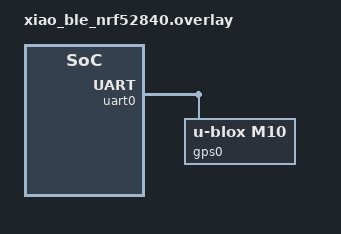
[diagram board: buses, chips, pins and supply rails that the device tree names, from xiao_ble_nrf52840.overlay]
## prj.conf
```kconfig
#
# Copyright (c) 2016 Intel Corporation
#
# SPDX-License-Identifier: Apache-2.0
#

CONFIG_GPIO=y

CONFIG_SERIAL=y
CONFIG_UART_INTERRUPT_DRIVEN=y
CONFIG_UART_ASYNC_API=y
CONFIG_UART_WIDE_DATA=y

CONFIG_GNSS=y
CONFIG_GNSS_SATELLITES=y
CONFIG_LOG=y
CONFIG_GNSS_DUMP=y
CONFIG_GNSS_DUMP_TO_LOG=y
CONFIG_GNSS_PARSE=y
CONFIG_GNSS_NMEA0183=y
CONFIG_GNSS_NMEA0183_MATCH=y
CONFIG_GNSS_U_BLOX_PROTOCOL=y

CONFIG_GNSS_LOG_LEVEL_ERR=y
# CONFIG_GNSS_LOG_LEVEL_DBG=y
# CONFIG_MODEM=y
# CONFIG_MODEM_LOG_LEVEL_ERR=y
# CONFIG_MODEM_LOG_LEVEL_DBG=y

CONFIG_GNSS_U_BLOX_M10=y

CONFIG_CBPRINTF_FP_SUPPORT=y
CONFIG_CBPRINTF_COMPLETE=y
```

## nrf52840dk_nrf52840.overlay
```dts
// To get started, press Ctrl+Space to bring up the completion menu and view the available nodes.

// You can also use the buttons in the sidebar to perform actions on nodes.
// Actions currently available include:

// * Enabling / disabling the node
// * Adding the bus to a bus
// * Removing the node
// * Connecting ADC channels

// For more help, browse the DeviceTree documentation at https://docs.zephyrproject.org/latest/guides/dts/index.html
// You can also visit the nRF DeviceTree extension documentation at https://docs.nordicsemi.com/bundle/nrf-connect-vscode/page/guides/ncs_configure_app.html#devicetree-support-in-the-extension

&uart0 {
    current-speed = <9600>;
};
```

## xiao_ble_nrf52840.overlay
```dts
// To get started, press Ctrl+Space to bring up the completion menu and view the available nodes.

// You can also use the buttons in the sidebar to perform actions on nodes.
// Actions currently available include:

// * Enabling / disabling the node
// * Adding the bus to a bus
// * Removing the node
// * Connecting ADC channels

// For more help, browse the DeviceTree documentation at https://docs.zephyrproject.org/latest/guides/dts/index.html
// You can also visit the nRF DeviceTree extension documentation at https://docs.nordicsemi.com/bundle/nrf-connect-vscode/page/guides/ncs_configure_app.html#devicetree-support-in-the-extension
&uart0 {
    status = "okay";
    gps0: gps {
        compatible = "u-blox,m10";
        uart-baudrate = <115200>;
        status = "okay";
    };
};
```

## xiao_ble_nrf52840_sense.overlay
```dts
// To get started, press Ctrl+Space to bring up the completion menu and view the available nodes.

// You can also use the buttons in the sidebar to perform actions on nodes.
// Actions currently available include:

// * Enabling / disabling the node
// * Adding the bus to a bus
// * Removing the node
// * Connecting ADC channels

// For more help, browse the DeviceTree documentation at https://docs.zephyrproject.org/latest/guides/dts/index.html
// You can also visit the nRF DeviceTree extension documentation at https://docs.nordicsemi.com/bundle/nrf-connect-vscode/page/guides/ncs_configure_app.html#devicetree-support-in-the-extension

&uart0 {
    status = "okay";
    gps0: gps {
        compatible = "u-blox,m10";
        uart-baudrate = <115200>;
        status = "okay";
    };
};
```

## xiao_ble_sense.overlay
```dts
// To get started, press Ctrl+Space to bring up the completion menu and view the available nodes.

// You can also use the buttons in the sidebar to perform actions on nodes.
// Actions currently available include:

// * Enabling / disabling the node
// * Adding the bus to a bus
// * Removing the node
// * Connecting ADC channels

// For more help, browse the DeviceTree documentation at https://docs.zephyrproject.org/latest/guides/dts/index.html
// You can also visit the nRF DeviceTree extension documentation at https://docs.nordicsemi.com/bundle/nrf-connect-vscode/page/guides/ncs_configure_app.html#devicetree-support-in-the-extension

&uart0 {
    gps: gps@1 {
        compatible = "u-blox,m8"; 

    };
};
```

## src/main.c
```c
#include <zephyr/kernel.h>
#include <zephyr/device.h>
#include <zephyr/drivers/gnss.h>
#include <zephyr/devicetree.h>
#include <zephyr/drivers/gpio.h>
#include <zephyr/sys/printk.h>
#include <zephyr/logging/log.h>



LOG_MODULE_REGISTER(gps_app, LOG_LEVEL_DBG);

#define GPS_NODE DT_NODELABEL(gps0)
#define GPS_DEVICE DEVICE_DT_GET(GPS_NODE)

#if DT_NODE_EXISTS(GPS_NODE)
#define GPS_DEVICE_READY 1
#else
#define GPS_DEVICE_READY 0
#endif

static void gnss_data_cb(const struct device *dev, const struct gnss_data *data)
{
	if (data->info.fix_status != GNSS_FIX_STATUS_NO_FIX) { 
		double latitude = data->nav_data.latitude /1e9;
        double longitude = data->nav_data.longitude/ 1e9;
        double speed = data->nav_data.speed; // Speed in meters per second
        struct gnss_time time = data->utc; // Convert timestamp to time structure

        LOG_INF("Location: Latitude: %.6f, Longitude: %.6f, Time: %02d:%02d:%02d UTC, Speed: %.2f mm/s",
                latitude,
                longitude,
                time.hour,
                time.minute,
                time.millisecond,
                speed);
	} else {
        LOG_INF("NO FIX");
    }
}
GNSS_DATA_CALLBACK_DEFINE(GPS_DEVICE, gnss_data_cb);

int main(void)
{
    int err = 0;
    if (!device_is_ready(GPS_DEVICE)) {
        LOG_ERR("GNSS device is not ready");
        return -1;
    }

    while (1) {
        k_msleep(500);
        LOG_INF("WHILE");
    }

    LOG_ERR("EXIT");
    return 0;
}
	
```
